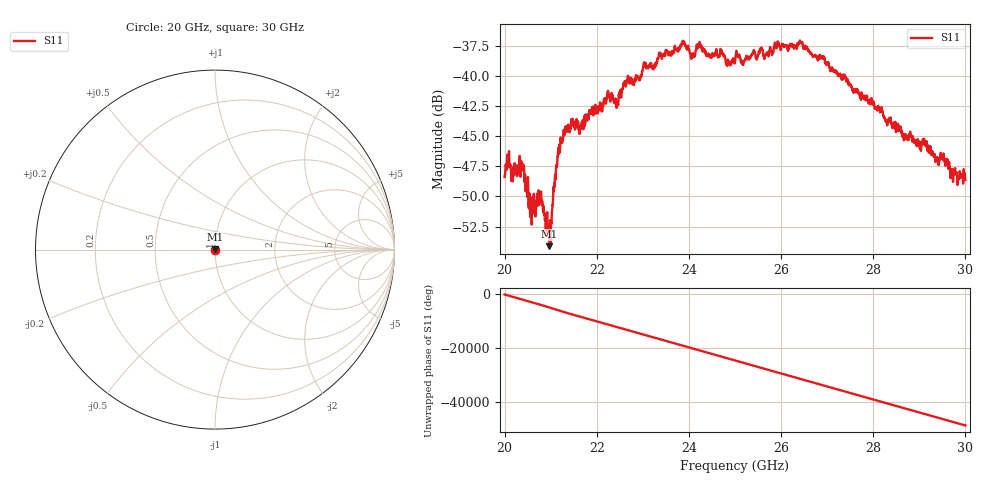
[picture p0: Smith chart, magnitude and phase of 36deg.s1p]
#  HZ  S  RI  R  50.00
! Rohde & Schwarz ZVA40 4Ports - Version 3.90 - 1145.1110k42 SN: 100403
! Date: 2023-10-03 11:51:06
! Measurement: S12
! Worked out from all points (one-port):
!   5001 points, 20 GHz to 30 GHz, reference 50 ohm
!   lowest |S11| = -54.1 dB at 20.97 GHz (marker M1), VSWR 1.00, Z = 50 + j0.192 ohm
!   |S11| at or under -10 dB: start of sweep to end of sweep
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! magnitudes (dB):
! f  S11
! 20 GHz  -48.4
! 20.07 GHz  -47.2
! 20.16 GHz  -48.3
! 20.37 GHz  -47.7
! 20.56 GHz  -51.3
! 20.78 GHz  -50.4
! 20.97 GHz  -54.1
! 21.14 GHz  -47.4
! 21.25 GHz  -45.5
! 22.22 GHz  -41.7
! 22.42 GHz  -42.1
! 22.5 GHz  -41.3
! 22.64 GHz  -40.6
! 22.93 GHz  -40.4
! 23.04 GHz  -39.0
! 23.75 GHz  -37.7
! 23.89 GHz  -37.3
! 24.09 GHz  -38.1
! 24.22 GHz  -37.6
! 24.43 GHz  -38.3
! 24.72 GHz  -38.2
! 24.85 GHz  -38.7
! 25 GHz  -38.8
! 26.25 GHz  -37.6
! 26.9 GHz  -38.6
! 27.5 GHz  -40.7
! 28.75 GHz  -45.1
! 30 GHz  -48.6
